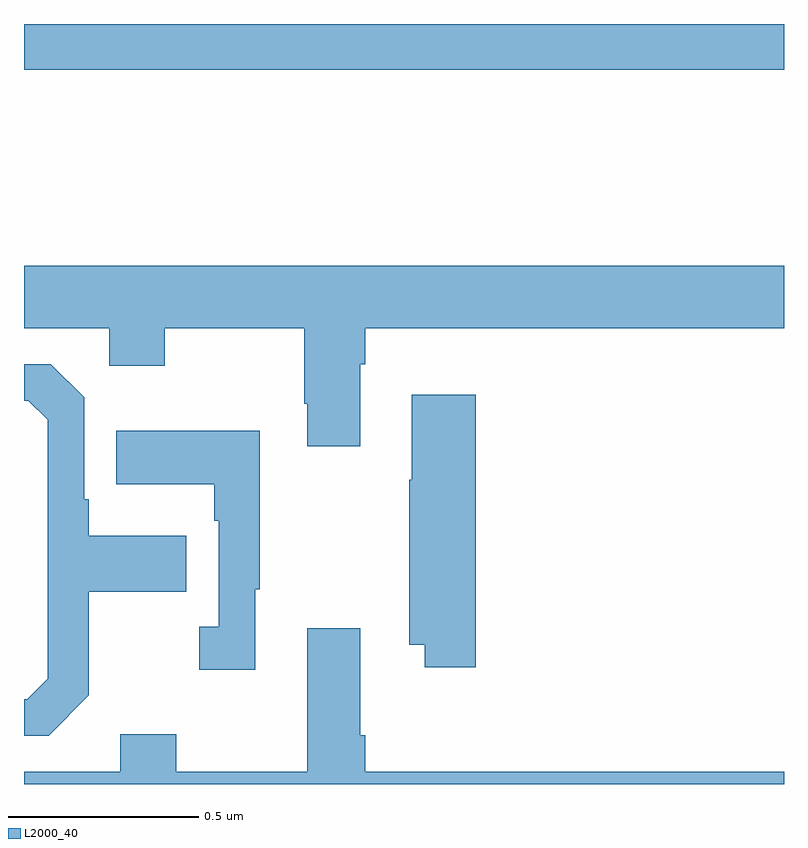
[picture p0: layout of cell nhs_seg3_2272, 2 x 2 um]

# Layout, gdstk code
import gdstk
lib = gdstk.Library(unit=1e-6, precision=1e-09)
def R(c, l, rs):  # rectangles x0, y0, x1, y1
    for r in rs: c.add(gdstk.rectangle(r[:2], r[2:], *l))
def P(c, l, *ps):  # polygons
    for p in ps: c.add(gdstk.Polygon(p, *l))
L2000_40 = (2000, 40)

nhs_seg3_2272 = lib.new_cell('nhs_seg3_2272')
R(nhs_seg3_2272, L2000_40, [(139,684.28,141,684.4)])
P(nhs_seg3_2272, L2000_40, [(139.885,683.504),(139.898,683.504),(139.898,683.6),(141,683.6),(141,683.764),(139,683.764),(139,683.6),(139.224,683.6),(139.224,683.501),(139.371,683.501),(139.371,683.6),(139.738,683.6),(139.738,683.401),(139.745,683.401),(139.745,683.289),(139.885,683.289)],
  [(139.171,682.633),(139.171,682.906),(139.427,682.906),(139.427,683.053),(139.171,683.053),(139.171,683.149),(139.158,683.149),(139.158,683.418),(139.071,683.505),(139,683.505),(139,683.409),(139.011,683.409),(139.062,683.358),(139.062,682.677),(139.008,682.623),(139,682.623),(139,682.527),(139.065,682.527)],
  [(140.189,683.425),(140.021,683.425),(140.021,683.201),(140.014,683.201),(140.014,682.766),(140.054,682.766),(140.054,682.707),(140.189,682.707)],
  [(139.609,682.913),(139.621,682.913),(139.621,683.329),(139.243,683.329),(139.243,683.189),(139.5,683.189),(139.5,683.093),(139.512,683.093),(139.512,682.814),(139.461,682.814),(139.461,682.701),(139.609,682.701)],
  [(141,682.432),(139.898,682.432),(139.898,682.528),(139.885,682.528),(139.885,682.81),(139.745,682.81),(139.745,682.432),(139.401,682.432),(139.401,682.531),(139.253,682.531),(139.253,682.432),(139,682.432),(139,682.4),(141,682.4)])

lib.write_gds('nhs_seg3_2272.gds')
